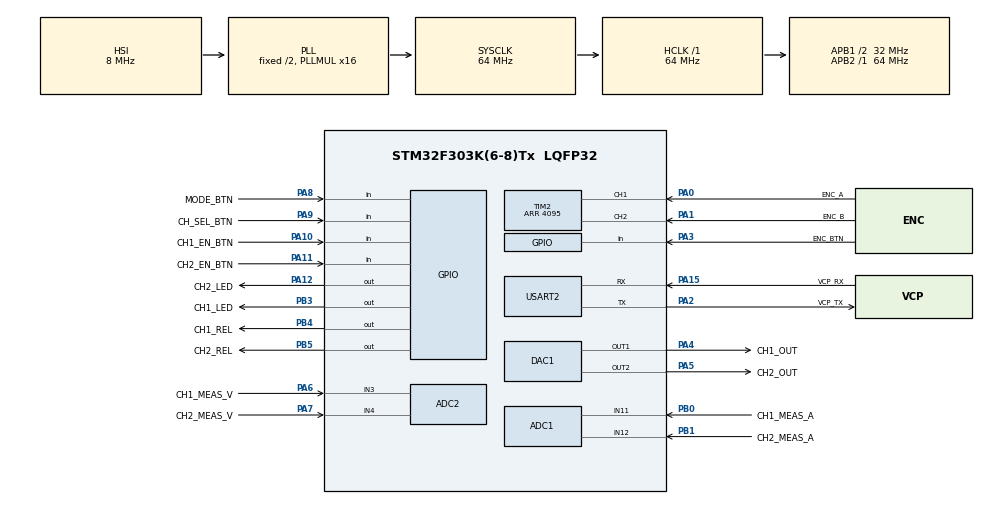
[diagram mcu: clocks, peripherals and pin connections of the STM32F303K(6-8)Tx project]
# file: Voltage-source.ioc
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ADC1.Channel-1\#ChannelRegularConversion=ADC_CHANNEL_11
ADC1.NbrOfConversionFlag=1
ADC1.Offset-1\#ChannelRegularConversion=0
ADC1.OffsetNumber-1\#ChannelRegularConversion=ADC_OFFSET_NONE
ADC1.Rank-1\#ChannelRegularConversion=1
ADC1.SamplingTime-1\#ChannelRegularConversion=ADC_SAMPLETIME_1CYCLE_5
ADC1.master=1
ADC2.Channel-1\#ChannelRegularConversion=ADC_CHANNEL_3
ADC2.NbrOfConversionFlag=1
ADC2.Offset-1\#ChannelRegularConversion=0
ADC2.OffsetNumber-1\#ChannelRegularConversion=ADC_OFFSET_NONE
ADC2.Rank-1\#ChannelRegularConversion=1
ADC2.SamplingTime-1\#ChannelRegularConversion=ADC_SAMPLETIME_1CYCLE_5
Mcu.Family=STM32F3
Mcu.Name=STM32F303K(6-8)Tx
Mcu.Package=LQFP32
NVIC.PriorityGroup=NVIC_PRIORITYGROUP_4
PA0.GPIO_Label=ENC_A
PA0.Signal=S_TIM2_CH1_ETR
PA1.GPIO_Label=ENC_B
PA1.Signal=S_TIM2_CH2
PA10.GPIO_Label=CH1_EN_BTN
PA10.GPIO_PuPd=GPIO_PULLUP
PA10.Signal=GPIO_Input
PA11.GPIO_Label=CH2_EN_BTN
PA11.GPIO_PuPd=GPIO_PULLUP
PA11.Signal=GPIO_Input
PA12.GPIO_Label=CH2_LED
PA12.Signal=GPIO_Output
PA13.GPIO_Label=SWDIO
PA13.Mode=Serial_Wire
PA13.Signal=SYS_JTMS-SWDIO
PA14.GPIO_Label=SWCLK
PA14.Mode=Serial_Wire
PA14.Signal=SYS_JTCK-SWCLK
PA15.GPIO_Label=VCP_RX
PA15.Mode=Asynchronous
PA15.Signal=USART2_RX
PA2.GPIO_Label=VCP_TX
PA2.Mode=Asynchronous
PA2.Signal=USART2_TX
PA3.GPIO_Label=ENC_BTN
PA3.GPIO_PuPd=GPIO_PULLUP
PA3.Signal=GPIO_Input
PA4.GPIO_Label=CH1_OUT
PA4.Signal=COMP_DAC11_group
PA5.GPIO_Label=CH2_OUT
PA5.Signal=COMP_DAC12_group
PA6.GPIO_Label=CH1_MEAS_V
PA6.Mode=IN3-Single-Ended
PA6.Signal=ADC2_IN3
PA7.GPIO_Label=CH2_MEAS_V
PA7.Mode=IN4-Single-Ended
PA7.Signal=ADC2_IN4
PA8.GPIO_Label=MODE_BTN
PA8.GPIO_PuPd=GPIO_PULLUP
PA8.Signal=GPIO_Input
PA9.GPIO_Label=CH_SEL_BTN
PA9.GPIO_PuPd=GPIO_PULLUP
PA9.Signal=GPIO_Input
PB0.GPIO_Label=CH1_MEAS_A
PB0.GPIO_Mode=GPIO_MODE_ANALOG
PB0.GPIO_PuPd=GPIO_NOPULL
PB0.Mode=IN11-Single-Ended
PB0.Signal=ADC1_IN11
PB1.GPIO_Label=CH2_MEAS_A
PB1.GPIO_Mode=GPIO_MODE_ANALOG
PB1.GPIO_PuPd=GPIO_NOPULL
PB1.Mode=IN12-Single-Ended
PB1.Signal=ADC1_IN12
PB3.GPIO_Label=CH1_LED
PB3.Signal=GPIO_Output
PB4.GPIO_Label=CH1_REL
PB4.Signal=GPIO_Output
PB5.GPIO_Label=CH2_REL
PB5.Signal=GPIO_Output
PF0\ /\ OSC_IN.GPIO_Label=MCO
PF0\ /\ OSC_IN.Mode=HSE-External-Clock-Source
PF0\ /\ OSC_IN.Signal=RCC_OSC_IN
ProjectManager.HeapSize=0x200
ProjectManager.StackSize=0x400
ProjectManager.TargetToolchain=STM32CubeIDE
RCC.AHBFreq_Value=64000000
RCC.APB1CLKDivider=RCC_HCLK_DIV2
RCC.APB1Freq_Value=32000000
RCC.APB1TimFreq_Value=64000000
RCC.APB2Freq_Value=64000000
RCC.APB2TimFreq_Value=64000000
RCC.CortexFreq_Value=64000000
RCC.HCLKFreq_Value=64000000
RCC.HSE_VALUE=8000000
RCC.HSI_VALUE=8000000
RCC.PLLMUL=RCC_PLL_MUL16
RCC.SYSCLKFreq_VALUE=64000000
RCC.SYSCLKSourceVirtual=RCC_SYSCLKSOURCE_PLLCLK
SH.COMP_DAC11_group.0=DAC1_OUT1,DAC_OUT1
SH.COMP_DAC12_group.0=DAC1_OUT2,DAC_OUT2
SH.S_TIM2_CH1_ETR.0=TIM2_CH1,Encoder_Interface
SH.S_TIM2_CH2.0=TIM2_CH2,Encoder_Interface
TIM2.EncoderMode=TIM_ENCODERMODE_TI12
TIM2.Period=4095
USART2.VirtualMode-Asynchronous=VM_ASYNC
board=NUCLEO-F303K8

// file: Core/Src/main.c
/* USER CODE BEGIN Header */
/**
  ******************************************************************************
  * @file           : main.c
  * @brief          : Main program body
  ******************************************************************************
  * @attention
  *
  * Copyright (c) 2026 STMicroelectronics.
  * All rights reserved.
  *
  * This software is licensed under terms that can be found in the LICENSE file
  * in the root directory of this software component.
  * If no LICENSE file comes with this software, it is provided AS-IS.
  *
  ******************************************************************************
  */
/* USER CODE END Header */
#include "main.h"

/* USER CODE BEGIN Includes */
#include <stdio.h> // pro funkci sprintf
#include <string.h>
#include "power_control.h"
#include "liquidcrystal_i2c.h"
/* USER CODE END Includes */

ADC_HandleTypeDef hadc1;
ADC_HandleTypeDef hadc2;

DAC_HandleTypeDef hdac1;

TIM_HandleTypeDef htim2;

UART_HandleTypeDef huart2;

/* USER CODE BEGIN PV */
uint8_t selected_channel = 1; // 1 = Na displeji a enkodéru ovládáme CH1, 2 = CH2

// Hodnoty kroků napětí v milivoltech (10 mV, 100 mV, 1 V)
int32_t step_sizes_mv[] = {10, 100, 1000};
uint8_t current_step_idx = 1; // Výchozí krok 100 mV
/* USER CODE END PV */

void SystemClock_Config(void);
static void MX_GPIO_Init(void);
static void MX_USART2_UART_Init(void);
static void MX_DAC1_Init(void);
static void MX_TIM2_Init(void);
static void MX_ADC2_Init(void);
static void MX_ADC1_Init(void);

/* USER CODE BEGIN 0 */
// Proměnné pro náš časový plánovač
uint32_t last_1ms_tick = 0;
uint32_t last_20ms_tick = 0;
uint32_t last_100ms_tick = 0;

// Prototypy našich Tasků (napíšeme je níže)
void Task_ControlLoop_1ms(void);
void Task_Inputs_20ms(void);
void Task_UI_100ms(void);

// Přesměrování standardního výstupu printf do USART2 (USB k PC)
int _write(int file, char *ptr, int len)
{
	HAL_UART_Transmit(&huart2, (uint8_t *)ptr, len, HAL_MAX_DELAY);
	return len;
}
/* USER CODE END 0 */

int main(void)
{

  /* USER CODE BEGIN 1 */
	setvbuf(stdout, NULL, _IONBF, 0); // Vypne bufferování pro printf
	printf("\r\n--- PROCESOR SE PROBUDIL ---\r\n");
  /* USER CODE END 1 */

  /* MCU Configuration--------------------------------------------------------*/

  /* Reset of all peripherals, Initializes the Flash interface and the Systick. */
  HAL_Init();

  /* Configure the system clock */
  SystemClock_Config();

  /* Initialize all configured peripherals */
  MX_GPIO_Init();
  MX_USART2_UART_Init();
  MX_DAC1_Init();
  MX_TIM2_Init();
  MX_ADC2_Init();
  MX_ADC1_Init();
  /* USER CODE BEGIN 2 */
	printf("\r\n\r\n--- SYSTEM START ---\r\n");

	printf("Cekam na probuzeni I2C periferii...\r\n");
	HAL_Delay(200); // 200 ms pauza pro hardware!

	// PŘIDÁNO: Hardwarová kalibrace ADC před prvním měřením!
	HAL_ADCEx_Calibration_Start(&hadc1, ADC_SINGLE_ENDED);
	HAL_ADCEx_Calibration_Start(&hadc2, ADC_SINGLE_ENDED);

	PowerSystem_Init();

	printf("1. Spoustim DAC...\r\n");
	HAL_DAC_Start(&hdac1, DAC_CHANNEL_1);
	HAL_DAC_Start(&hdac1, DAC_CHANNEL_2);

	printf("2. Spoustim TIM2 (Enkoder)...\r\n");
	HAL_TIM_Encoder_Start(&htim2, TIM_CHANNEL_ALL);

	printf("VSE OK, vstupuji do while(1) smycky!\r\n");
  /* USER CODE END 2 */

  /* Infinite loop */
  /* USER CODE BEGIN WHILE */
	while (1)
	{
		uint32_t current_tick = HAL_GetTick(); // Aktuální čas v milisekundách

		// ==========================================
		// TASK 1: Regulační smyčka (Běží přesně 1000x za vteřinu)
		// ==========================================
		if ((current_tick - last_1ms_tick) >= 1) {
				last_1ms_tick = current_tick;
				Task_ControlLoop_1ms();
		}

		// ==========================================
		// TASK 2: Čtení tlačítek a Enkodéru (Běží 50x za vteřinu)
		// ==========================================
		if ((current_tick - last_20ms_tick) >= 20) {
				last_20ms_tick = current_tick;
				Task_Inputs_20ms();
		}

		// ==========================================
		// TASK 3: Vykreslení Displeje (Běží 10x za vteřinu)
		// ==========================================
		if ((current_tick - last_100ms_tick) >= 100) {
				last_100ms_tick = current_tick;
				Task_UI_100ms();
		}
    /* USER CODE END WHILE */

	}
}

void SystemClock_Config(void)
{
  RCC_OscInitTypeDef RCC_OscInitStruct = {0};
  RCC_ClkInitTypeDef RCC_ClkInitStruct = {0};
  RCC_PeriphCLKInitTypeDef PeriphClkInit = {0};

  /** Initializes the RCC Oscillators according to the specified parameters
  * in the RCC_OscInitTypeDef structure.
  */
  RCC_OscInitStruct.OscillatorType = RCC_OSCILLATORTYPE_HSI;
  RCC_OscInitStruct.HSIState = RCC_HSI_ON;
  RCC_OscInitStruct.HSICalibrationValue = RCC_HSICALIBRATION_DEFAULT;
  RCC_OscInitStruct.PLL.PLLState = RCC_PLL_ON;
  RCC_OscInitStruct.PLL.PLLSource = RCC_PLLSOURCE_HSI;
  RCC_OscInitStruct.PLL.PLLMUL = RCC_PLL_MUL16;
  if (HAL_RCC_OscConfig(&RCC_OscInitStruct) != HAL_OK)
  {
    Error_Handler();
  }

  /** Initializes the CPU, AHB and APB buses clocks
  */
  RCC_ClkInitStruct.ClockType = RCC_CLOCKTYPE_HCLK|RCC_CLOCKTYPE_SYSCLK
                              |RCC_CLOCKTYPE_PCLK1|RCC_CLOCKTYPE_PCLK2;
  RCC_ClkInitStruct.SYSCLKSource = RCC_SYSCLKSOURCE_PLLCLK;
  RCC_ClkInitStruct.AHBCLKDivider = RCC_SYSCLK_DIV1;
  RCC_ClkInitStruct.APB1CLKDivider = RCC_HCLK_DIV2;
  RCC_ClkInitStruct.APB2CLKDivider = RCC_HCLK_DIV1;

  if (HAL_RCC_ClockConfig(&RCC_ClkInitStruct, FLASH_LATENCY_2) != HAL_OK)
  {
    Error_Handler();
  }
  PeriphClkInit.PeriphClockSelection = RCC_PERIPHCLK_ADC12;
  PeriphClkInit.Adc12ClockSelection = RCC_ADC12PLLCLK_DIV1;
  if (HAL_RCCEx_PeriphCLKConfig(&PeriphClkInit) != HAL_OK)
  {
    Error_Handler();
  }
}

static void MX_ADC1_Init(void)
{

  ADC_MultiModeTypeDef multimode = {0};
  ADC_ChannelConfTypeDef sConfig = {0};

  /** Common config
  */
  hadc1.Instance = ADC1;
  hadc1.Init.ClockPrescaler = ADC_CLOCK_ASYNC_DIV1;
  hadc1.Init.Resolution = ADC_RESOLUTION_12B;
  hadc1.Init.ScanConvMode = ADC_SCAN_DISABLE;
  hadc1.Init.ContinuousConvMode = DISABLE;
  hadc1.Init.DiscontinuousConvMode = DISABLE;
  hadc1.Init.ExternalTrigConvEdge = ADC_EXTERNALTRIGCONVEDGE_NONE;
  hadc1.Init.ExternalTrigConv = ADC_SOFTWARE_START;
  hadc1.Init.DataAlign = ADC_DATAALIGN_RIGHT;
  hadc1.Init.NbrOfConversion = 1;
  hadc1.Init.DMAContinuousRequests = DISABLE;
  hadc1.Init.EOCSelection = ADC_EOC_SINGLE_CONV;
  hadc1.Init.LowPowerAutoWait = DISABLE;
  hadc1.Init.Overrun = ADC_OVR_DATA_OVERWRITTEN;
  if (HAL_ADC_Init(&hadc1) != HAL_OK)
  {
    Error_Handler();
  }

  /** Configure the ADC multi-mode
  */
  multimode.Mode = ADC_MODE_INDEPENDENT;
  if (HAL_ADCEx_MultiModeConfigChannel(&hadc1, &multimode) != HAL_OK)
  {
    Error_Handler();
  }

  /** Configure Regular Channel
  */
  sConfig.Channel = ADC_CHANNEL_11;
  sConfig.Rank = ADC_REGULAR_RANK_1;
  sConfig.SingleDiff = ADC_SINGLE_ENDED;
  sConfig.SamplingTime = ADC_SAMPLETIME_1CYCLE_5;
  sConfig.OffsetNumber = ADC_OFFSET_NONE;
  sConfig.Offset = 0;
  if (HAL_ADC_ConfigChannel(&hadc1, &sConfig) != HAL_OK)
  {
    Error_Handler();
  }

}

static void MX_ADC2_Init(void)
{

  ADC_ChannelConfTypeDef sConfig = {0};

  /** Common config
  */
  hadc2.Instance = ADC2;
  hadc2.Init.ClockPrescaler = ADC_CLOCK_ASYNC_DIV1;
  hadc2.Init.Resolution = ADC_RESOLUTION_12B;
  hadc2.Init.ScanConvMode = ADC_SCAN_DISABLE;
  hadc2.Init.ContinuousConvMode = DISABLE;
  hadc2.Init.DiscontinuousConvMode = DISABLE;
  hadc2.Init.ExternalTrigConvEdge = ADC_EXTERNALTRIGCONVEDGE_NONE;
  hadc2.Init.ExternalTrigConv = ADC_SOFTWARE_START;
  hadc2.Init.DataAlign = ADC_DATAALIGN_RIGHT;
  hadc2.Init.NbrOfConversion = 1;
  hadc2.Init.DMAContinuousRequests = DISABLE;
  hadc2.Init.EOCSelection = ADC_EOC_SINGLE_CONV;
  hadc2.Init.LowPowerAutoWait = DISABLE;
  hadc2.Init.Overrun = ADC_OVR_DATA_OVERWRITTEN;
  if (HAL_ADC_Init(&hadc2) != HAL_OK)
  {
    Error_Handler();
  }

  /** Configure Regular Channel
  */
  sConfig.Channel = ADC_CHANNEL_3;
  sConfig.Rank = ADC_REGULAR_RANK_1;
  sConfig.SingleDiff = ADC_SINGLE_ENDED;
  sConfig.SamplingTime = ADC_SAMPLETIME_1CYCLE_5;
  sConfig.OffsetNumber = ADC_OFFSET_NONE;
  sConfig.Offset = 0;
  if (HAL_ADC_ConfigChannel(&hadc2, &sConfig) != HAL_OK)
  {
    Error_Handler();
  }

}

static void MX_DAC1_Init(void)
{

  DAC_ChannelConfTypeDef sConfig = {0};

  /** DAC Initialization
  */
  hdac1.Instance = DAC1;
  if (HAL_DAC_Init(&hdac1) != HAL_OK)
  {
    Error_Handler();
  }

  /** DAC channel OUT1 config
  */
  sConfig.DAC_Trigger = DAC_TRIGGER_NONE;
  sConfig.DAC_OutputBuffer = DAC_OUTPUTBUFFER_ENABLE;
  if (HAL_DAC_ConfigChannel(&hdac1, &sConfig, DAC_CHANNEL_1) != HAL_OK)
  {
    Error_Handler();
  }

  /** DAC channel OUT2 config
  */
  sConfig.DAC_OutputSwitch = DAC_OUTPUTSWITCH_ENABLE;
  if (HAL_DAC_ConfigChannel(&hdac1, &sConfig, DAC_CHANNEL_2) != HAL_OK)
  {
    Error_Handler();
  }

}

static void MX_TIM2_Init(void)
{

  TIM_Encoder_InitTypeDef sConfig = {0};
  TIM_MasterConfigTypeDef sMasterConfig = {0};

  htim2.Instance = TIM2;
  htim2.Init.Prescaler = 0;
  htim2.Init.CounterMode = TIM_COUNTERMODE_UP;
  htim2.Init.Period = 4095;
  htim2.Init.ClockDivision = TIM_CLOCKDIVISION_DIV1;
  htim2.Init.AutoReloadPreload = TIM_AUTORELOAD_PRELOAD_DISABLE;
  sConfig.EncoderMode = TIM_ENCODERMODE_TI12;
  sConfig.IC1Polarity = TIM_ICPOLARITY_RISING;
  sConfig.IC1Selection = TIM_ICSELECTION_DIRECTTI;
  sConfig.IC1Prescaler = TIM_ICPSC_DIV1;
  sConfig.IC1Filter = 0;
  sConfig.IC2Polarity = TIM_ICPOLARITY_RISING;
  sConfig.IC2Selection = TIM_ICSELECTION_DIRECTTI;
  sConfig.IC2Prescaler = TIM_ICPSC_DIV1;
  sConfig.IC2Filter = 0;
  if (HAL_TIM_Encoder_Init(&htim2, &sConfig) != HAL_OK)
  {
    Error_Handler();
  }
  sMasterConfig.MasterOutputTrigger = TIM_TRGO_RESET;
  sMasterConfig.MasterSlaveMode = TIM_MASTERSLAVEMODE_DISABLE;
  if (HAL_TIMEx_MasterConfigSynchronization(&htim2, &sMasterConfig) != HAL_OK)
  {
    Error_Handler();
  }

}

static void MX_USART2_UART_Init(void)
{

  huart2.Instance = USART2;
  huart2.Init.BaudRate = 38400;
  huart2.Init.WordLength = UART_WORDLENGTH_8B;
  huart2.Init.StopBits = UART_STOPBITS_1;
  huart2.Init.Parity = UART_PARITY_NONE;
  huart2.Init.Mode = UART_MODE_TX_RX;
  huart2.Init.HwFlowCtl = UART_HWCONTROL_NONE;
  huart2.Init.OverSampling = UART_OVERSAMPLING_16;
  huart2.Init.OneBitSampling = UART_ONE_BIT_SAMPLE_DISABLE;
  huart2.AdvancedInit.AdvFeatureInit = UART_ADVFEATURE_NO_INIT;
  if (HAL_UART_Init(&huart2) != HAL_OK)
  {
    Error_Handler();
  }

}

static void MX_GPIO_Init(void)
{
  GPIO_InitTypeDef GPIO_InitStruct = {0};

  /* GPIO Ports Clock Enable */
  __HAL_RCC_GPIOF_CLK_ENABLE();
  __HAL_RCC_GPIOA_CLK_ENABLE();
  __HAL_RCC_GPIOB_CLK_ENABLE();

  /*Configure GPIO pin Output Level */
  HAL_GPIO_WritePin(CH2_LED_GPIO_Port, CH2_LED_Pin, GPIO_PIN_RESET);

  /*Configure GPIO pin Output Level */
  HAL_GPIO_WritePin(GPIOB, CH1_LED_Pin|CH1_REL_Pin|CH2_REL_Pin, GPIO_PIN_RESET);

  /*Configure GPIO pins : ENC_BTN_Pin MODE_BTN_Pin CH_SEL_BTN_Pin CH1_EN_BTN_Pin
                           CH2_EN_BTN_Pin */
  GPIO_InitStruct.Pin = ENC_BTN_Pin|MODE_BTN_Pin|CH_SEL_BTN_Pin|CH1_EN_BTN_Pin
                          |CH2_EN_BTN_Pin;
  GPIO_InitStruct.Mode = GPIO_MODE_INPUT;
  GPIO_InitStruct.Pull = GPIO_PULLUP;
  HAL_GPIO_Init(GPIOA, &GPIO_InitStruct);

  /*Configure GPIO pin : CH2_LED_Pin */
  GPIO_InitStruct.Pin = CH2_LED_Pin;
  GPIO_InitStruct.Mode = GPIO_MODE_OUTPUT_PP;
  GPIO_InitStruct.Pull = GPIO_NOPULL;
  GPIO_InitStruct.Speed = GPIO_SPEED_FREQ_LOW;
  HAL_GPIO_Init(CH2_LED_GPIO_Port, &GPIO_InitStruct);

  /*Configure GPIO pins : CH1_LED_Pin CH1_REL_Pin CH2_REL_Pin */
  GPIO_InitStruct.Pin = CH1_LED_Pin|CH1_REL_Pin|CH2_REL_Pin;
  GPIO_InitStruct.Mode = GPIO_MODE_OUTPUT_PP;
  GPIO_InitStruct.Pull = GPIO_NOPULL;
  GPIO_InitStruct.Speed = GPIO_SPEED_FREQ_LOW;
  HAL_GPIO_Init(GPIOB, &GPIO_InitStruct);

}

/* USER CODE BEGIN 4 */

// 1. Pomocná funkce pro rychlé přečtení konkrétního ADC kanálu
uint16_t Read_ADC_Channel(ADC_HandleTypeDef *hadc, uint32_t channel)
{
    ADC_ChannelConfTypeDef sConfig = {0};
    sConfig.Channel = channel;
    sConfig.Rank = ADC_REGULAR_RANK_1;

    // Zde vynucujeme Single-Ended režim navzdory výchozímu nastavení!
    sConfig.SingleDiff = ADC_SINGLE_ENDED;

    // Zvolíme delší čas vzorkování (61.5 cyklů) pro nabití vnitřního kondenzátoru
    // To výrazně zlepší přesnost a omezí šum na děličích s velkými odpory (desítky kOhm).
    sConfig.SamplingTime = ADC_SAMPLETIME_61CYCLES_5;

    sConfig.OffsetNumber = ADC_OFFSET_NONE;
    sConfig.Offset = 0;

    // Aplikujeme konfiguraci
    HAL_ADC_ConfigChannel(hadc, &sConfig);

    // Spustíme převod, počkáme na výsledek a převodník zase zastavíme
    HAL_ADC_Start(hadc);
    HAL_ADC_PollForConversion(hadc, 5); // Max 5 ms timeout
    uint16_t result = HAL_ADC_GetValue(hadc);
    HAL_ADC_Stop(hadc);

    return result;
}

// 2. HLAVNÍ REGULAČNÍ SMYČKA (Volá se striktně každou 1 ms)
void Task_ControlLoop_1ms(void)
{
    // ==========================================
    // KAN�?L 1
    // ==========================================
    // A) Čtení hardwaru (CH1_MEAS_V = ADC2_IN3, CH1_MEAS_A = ADC1_IN11)
    uint16_t adc_v1 = Read_ADC_Channel(&hadc2, ADC_CHANNEL_3);
    uint16_t adc_a1 = Read_ADC_Channel(&hadc1, ADC_CHANNEL_11);

    // B) Zpracování logiky a regulace
    PowerControl_ProcessADC(&ch1, adc_v1, adc_a1);
    PowerControl_UpdateSOALimit(&ch1);
    PowerControl_ProcessControlLoop(&ch1);

    // C) Zápis vypočteného výsledku do hardwaru
    HAL_DAC_SetValue(&hdac1, DAC_CHANNEL_1, DAC_ALIGN_12B_R, ch1.current_dac_val);

    // ==========================================
    // KAN�?L 2
    // ==========================================
    // A) Čtení hardwaru (CH2_MEAS_V = ADC2_IN4, CH2_MEAS_A = ADC1_IN12)
    uint16_t adc_v2 = Read_ADC_Channel(&hadc2, ADC_CHANNEL_4);
    uint16_t adc_a2 = Read_ADC_Channel(&hadc1, ADC_CHANNEL_12);

    // B) Zpracování logiky a regulace
    PowerControl_ProcessADC(&ch2, adc_v2, adc_a2);
    PowerControl_UpdateSOALimit(&ch2);
    PowerControl_ProcessControlLoop(&ch2);

    // C) Zápis vypočteného výsledku do hardwaru
    HAL_DAC_SetValue(&hdac1, DAC_CHANNEL_2, DAC_ALIGN_12B_R, ch2.current_dac_val);
}

void Task_Inputs_20ms(void)
{
    // ==========================================
    // 1. OBSLUHA ENKODÉRU (Čtení z HW časovače TIM2)
    // ==========================================
    static uint16_t last_timer_val = 0;
    static int16_t tick_accumulator = 0;

    uint16_t timer_val = __HAL_TIM_GET_COUNTER(&htim2);
    int16_t delta_ticks = (int16_t)timer_val - (int16_t)last_timer_val;

    // Korekce pro přetočení čítače čipu (0 <-> 4095)
    if (delta_ticks > 2047) delta_ticks -= 4096;
    if (delta_ticks < -2048) delta_ticks += 4096;

    last_timer_val = timer_val;
    tick_accumulator += delta_ticks;

    // Pokud došlo k mechanickému "cvaknutí" (4 tiky)
    if (tick_accumulator >= 4 || tick_accumulator <= -4)
    {
        int16_t clicks = tick_accumulator / 4;
        tick_accumulator %= 4;

        int32_t voltage_change = clicks * step_sizes_mv[current_step_idx];

        // Zjistíme, který kanál aktuálně uživatel ovládá
        PowerChannel_t *active_ch = (selected_channel == 1) ? &ch1 : &ch2;

        active_ch->target_voltage_mv += voltage_change;

        // DYNAMICKÝ LIMIT: 3.3V pro čistý DAC, 15V pro výkonový zdroj
				int32_t max_allowed_mv = (active_ch->mode == MODE_DAC_DIRECT) ? 3300 : 16000;

				// Limity nastavitelného rozsahu
				if (active_ch->target_voltage_mv > max_allowed_mv) {
						active_ch->target_voltage_mv = max_allowed_mv;
				}
				if (active_ch->target_voltage_mv < 0) {
						active_ch->target_voltage_mv = 0;
				}
    }

    // ==========================================
    // 2. OBSLUHA 5 TLAČÍTEK (Detekce sestupné hrany)
    // ==========================================
    // Statické proměnné si pamatují stav z minulého cyklu (před 20 ms)
    // Inicializujeme na 1 (GPIO_PULLUP = v klidu je na pinu hodnota 1)
    static uint8_t prev_btn_enc = 1, prev_btn_mode = 1, prev_btn_sel = 1;
    static uint8_t prev_btn_ch1 = 1, prev_btn_ch2 = 1;

    uint8_t curr_btn_enc = HAL_GPIO_ReadPin(ENC_BTN_GPIO_Port, ENC_BTN_Pin);
    uint8_t curr_btn_mode = HAL_GPIO_ReadPin(MODE_BTN_GPIO_Port, MODE_BTN_Pin);
    uint8_t curr_btn_sel = HAL_GPIO_ReadPin(CH_SEL_BTN_GPIO_Port, CH_SEL_BTN_Pin);
    uint8_t curr_btn_ch1 = HAL_GPIO_ReadPin(CH1_EN_BTN_GPIO_Port, CH1_EN_BTN_Pin);
    uint8_t curr_btn_ch2 = HAL_GPIO_ReadPin(CH2_EN_BTN_GPIO_Port, CH2_EN_BTN_Pin);

    // Pointer na aktivní kanál pro snadnější nastavování módů
    PowerChannel_t *active_ch = (selected_channel == 1) ? &ch1 : &ch2;

    // A) Změna kroku (Tlačítko enkodéru) - Reakce POUZE pokud teď je 0 a minule byla 1
    if (curr_btn_enc == 0 && prev_btn_enc == 1) {
        current_step_idx++;
        if (current_step_idx > 2) current_step_idx = 0;
    }

    // B) Přepínání UI mezi CH1 a CH2 (CH_SEL_BTN)
    if (curr_btn_sel == 0 && prev_btn_sel == 1) {
        selected_channel = (selected_channel == 1) ? 2 : 1;
    }

    // C) Změna režimu výstupu (DAC / LM317)
		if (curr_btn_mode == 0 && prev_btn_mode == 1) {
				// Bezpečnost: Vypneme fyzicky kanál, než změníme způsob řízení!
				active_ch->enabled = 0;

				if (active_ch->mode == MODE_POWER_LM317) {
						active_ch->mode = MODE_DAC_DIRECT;

						// BEZPEČNOSTNÍ O�?EZ: Pokud přepínáme do DAC a napětí bylo > 3.3V, srazíme ho
						if (active_ch->target_voltage_mv > 3300) {
								active_ch->target_voltage_mv = 3300;
						}
				} else {
						active_ch->mode = MODE_POWER_LM317;
				}
		}

    // D) Zapnutí/Vypnutí Kanálu 1
    if (curr_btn_ch1 == 0 && prev_btn_ch1 == 1) {
        ch1.enabled = !ch1.enabled;
    }

    // E) Zapnutí/Vypnutí Kanálu 2
    if (curr_btn_ch2 == 0 && prev_btn_ch2 == 1) {
        ch2.enabled = !ch2.enabled;
    }

    // Uložení aktuálních stavů do historie pro další průběh za 20ms
    prev_btn_enc = curr_btn_enc;
    prev_btn_mode = curr_btn_mode;
    prev_btn_sel = curr_btn_sel;
    prev_btn_ch1 = curr_btn_ch1;
    prev_btn_ch2 = curr_btn_ch2;

    // ==========================================
		// 3. Vizuální indikace (Nezávislé LED pro CH1 a CH2)
		// ==========================================
		// LED Kanálu 1 (Pin PB3)
		if (ch1.enabled) {
				HAL_GPIO_WritePin(GPIOB, GPIO_PIN_3, GPIO_PIN_SET);
		} else {
				HAL_GPIO_WritePin(GPIOB, GPIO_PIN_3, GPIO_PIN_RESET);
		}

		// LED Kanálu 2 (Pin PA12)
		if (ch2.enabled) {
				HAL_GPIO_WritePin(GPIOA, GPIO_PIN_12, GPIO_PIN_SET);
		} else {
				HAL_GPIO_WritePin(GPIOA, GPIO_PIN_12, GPIO_PIN_RESET);
		}

    // ==========================================
		// 4. Fyzické spínání výkonových relé
		// ==========================================
		// Relé Kanálu 1 (Pin PB4)
		if (ch1.enabled) {
				HAL_GPIO_WritePin(GPIOB, CH1_REL_Pin, GPIO_PIN_SET);
		} else {
				HAL_GPIO_WritePin(GPIOB, CH1_REL_Pin, GPIO_PIN_RESET);
		}

		// Relé Kanálu 2 (Pin PB5)
		if (ch2.enabled) {
				HAL_GPIO_WritePin(GPIOB, CH2_REL_Pin, GPIO_PIN_SET);
		} else {
				HAL_GPIO_WritePin(GPIOB, CH2_REL_Pin, GPIO_PIN_RESET);
		}
}

void Task_UI_100ms(void)
{
    char buf[25];
    char step_str[5];
    char state_str[4];

    // ==========================================
        // VYKRESLENÍ KAN�?LU 1
        // ==========================================
        // Připravíme si správný znak pro okraj (hexadecimální hodnota 0x01 zavolá náš custom znak)
        char sel1 = (selected_channel == 1) ? '\x01' : ' ';

        strcpy(step_str, "    ");
        if (selected_channel == 1) {
            if (step_sizes_mv[current_step_idx] == 10) strcpy(step_str, " 10m");
            else if (step_sizes_mv[current_step_idx] == 100) strcpy(step_str, "100m");
            else if (step_sizes_mv[current_step_idx] == 1000) strcpy(step_str, "  1V");
        }

        // �?ádek 0 (Hlavička)
        sprintf(buf, "%cCH1 %s %2lu.%02luV %s",
                sel1,
                (ch1.mode == MODE_POWER_LM317) ? "PWR" : "CAL",
                ch1.target_voltage_mv / 1000, (ch1.target_voltage_mv % 1000) / 10,
                step_str);
        printf("L0:%-20s\r\n", buf);

        if (!ch1.enabled) strcpy(state_str, "OFF");
        else if (ch1.is_limited) strcpy(state_str, "LIM");
        else strcpy(state_str, "ON ");

        // �?ádek 1 (Hodnoty - ZDE TAKÉ P�?ID�?N ZNAK sel1)
        if (ch1.mode == MODE_DAC_DIRECT) {
            uint32_t dac_v1 = (ch1.current_dac_val * ch1.calib.adc_v_ref_mv) / 4095;
            sprintf(buf, "%c%s %2lu.%02luV   ---- ", sel1, state_str, dac_v1 / 1000, (dac_v1 % 1000) / 10);
        } else {
            sprintf(buf, "%c%s %2lu.%02luV   %lu.%02luA ", sel1, state_str, ch1.ui_voltage_mv / 1000, (ch1.ui_voltage_mv % 1000) / 10, ch1.ui_current_ma / 1000, (ch1.ui_current_ma % 1000) / 10);
        }
        printf("L1:%-20s\r\n", buf);

        // ==========================================
        // VYKRESLENÍ KAN�?LU 2
        // ==========================================
        char sel2 = (selected_channel == 2) ? '\x01' : ' ';

        strcpy(step_str, "    ");
        if (selected_channel == 2) {
            if (step_sizes_mv[current_step_idx] == 10) strcpy(step_str, " 10m");
            else if (step_sizes_mv[current_step_idx] == 100) strcpy(step_str, "100m");
            else if (step_sizes_mv[current_step_idx] == 1000) strcpy(step_str, "  1V");
        }

        // �?ádek 2 (Hlavička)
        sprintf(buf, "%cCH2 %s %2lu.%02luV %s",
                sel2,
                (ch2.mode == MODE_POWER_LM317) ? "PWR" : "CAL",
                ch2.target_voltage_mv / 1000, (ch2.target_voltage_mv % 1000) / 10,
                step_str);
        printf("L2:%-20s\r\n", buf);

        if (!ch2.enabled) strcpy(state_str, "OFF");
        else if (ch2.is_limited) strcpy(state_str, "LIM");
        else strcpy(state_str, "ON ");

        // �?ádek 3 (Hodnoty - ZDE TAKÉ P�?ID�?N ZNAK sel2)
        if (ch2.mode == MODE_DAC_DIRECT) {
            uint32_t dac_v2 = (ch2.current_dac_val * ch2.calib.adc_v_ref_mv) / 4095;
            sprintf(buf, "%c%s %2lu.%02luV   ---- ", sel2, state_str, dac_v2 / 1000, (dac_v2 % 1000) / 10);
        } else {
            sprintf(buf, "%c%s %2lu.%02luV   %lu.%02luA ", sel2, state_str, ch2.ui_voltage_mv / 1000, (ch2.ui_voltage_mv % 1000) / 10, ch2.ui_current_ma / 1000, (ch2.ui_current_ma % 1000) / 10);
        }
        printf("L3:%-20s\r\n\n", buf);
}

/* USER CODE END 4 */

void Error_Handler(void)
{
  __disable_irq();
  while (1)
  {
  }
}
